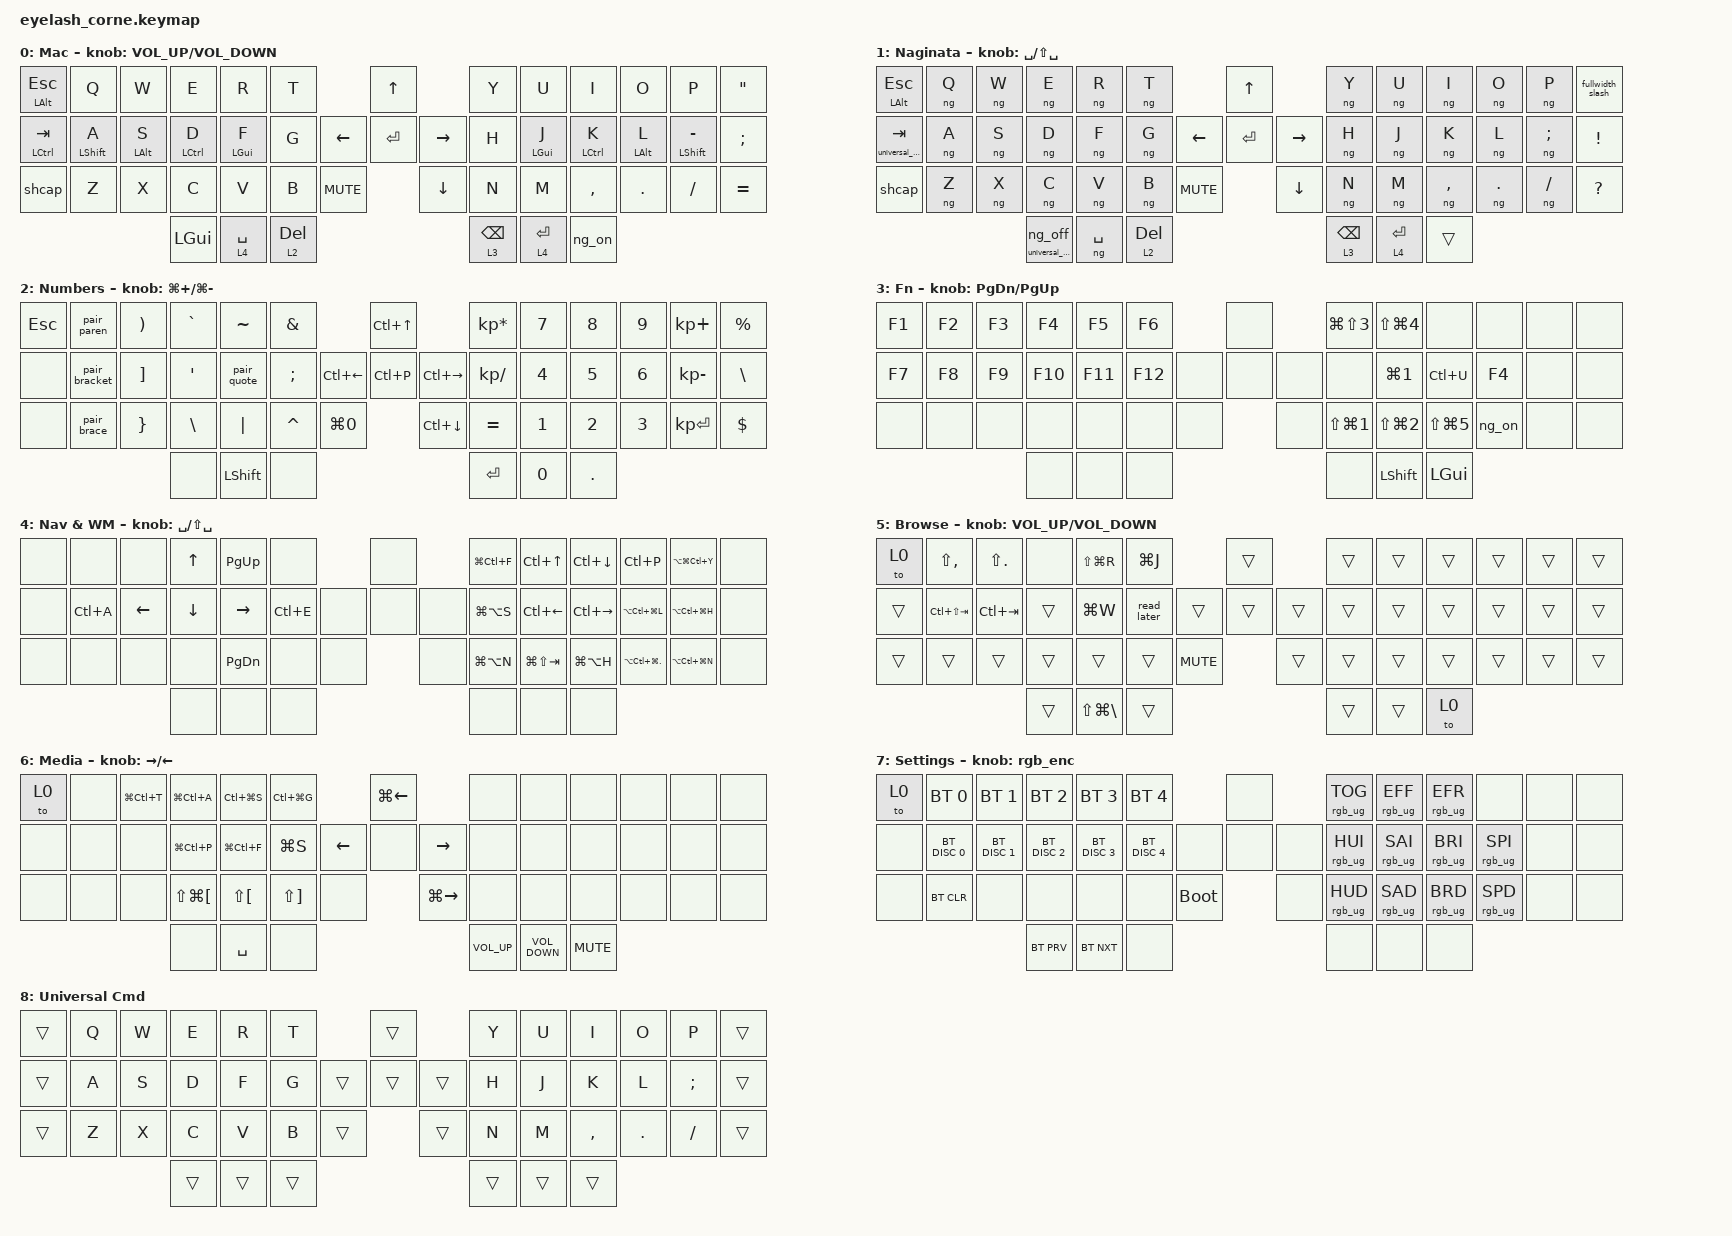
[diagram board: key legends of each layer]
#include <dt-bindings/zmk/mouse.h>
#include <input/processors.dtsi>
#include <behaviors/naginata.dtsi>
#include <behaviors.dtsi>
#include <dt-bindings/zmk/bt.h>
#include <dt-bindings/zmk/keys.h>
#include <dt-bindings/zmk/pointing.h>
#include <dt-bindings/zmk/rgb.h>

// ============================================================================
// Pointing Device
// ============================================================================
// XY入力のスケーリング用。
// 現在は無効。トラックボール等で必要になった場合に使用する。
/*
&mmv_input_listener {
    input-processors = <&zip_xy_scaler 2 1>;
};

&msc_input_listener {
    input-processors = <&zip_xy_scaler 2 1>;
};
*/

#define ZMK_MOUSE_DEFAULT_MOVE_VAL 1200  // Default: 600
#define ZMK_MOUSE_DEFAULT_SCRL_VAL 20    // Default: 10

/ {
    // =========================================================================
    // Macros
    // =========================================================================

    macros {
        // ---------------------------------------------------------------------
        // macOS Input Source
        // ---------------------------------------------------------------------
        // 英数入力へ確実に切り替えるため、LANG2を2回送信する。
        // BTT等によるLANG2検出の取りこぼし対策も兼ねる。
        //
        //   LANG2 -> 30ms -> LANG2
        // ---------------------------------------------------------------------
        // 薙刀式 ON / OFF
        // ---------------------------------------------------------------------
        // macOSを日本語入力へ切り替え、薙刀式レイヤーへ移動

        ng_on: ng_on {
            compatible = "zmk,behavior-macro";
            #binding-cells = <0>;
            bindings = <&macro_tap>, <&to 1 &kp LANGUAGE_1>;
        };

        // macOSを英数入力へ切り替え、Macレイヤーへ戻る。
        // 英数切替には共通のen_modeを使用する。

        ng_off: ng_off {
            compatible = "zmk,behavior-macro";
            #binding-cells = <0>;
            bindings = <&macro_tap>, <&to 0 &kp LANGUAGE_2>, <&macro_press>;
        };

        // ---------------------------------------------------------------------
        // Universal Cmd / Ctrl
        // ---------------------------------------------------------------------
        // 押している間、Universal Cmdレイヤー + Commandを有効化。
        // 薙刀式使用中でも通常のQWERTY配置でCmdショートカットを使用できる。

        universal_cmd: universal_cmd {
            compatible = "zmk,behavior-macro";
            #binding-cells = <0>;
            wait-ms = <0>;
            tap-ms = <0>;
            bindings =
                <&macro_press>,
                <&mo 8 &kp LGUI>,
                <&macro_pause_for_release>,
                <&macro_release>,
                <&kp LGUI &mo 8>;
        };

        // 押している間、Universal Cmdレイヤー + Controlを有効化。

        universal_ctrl: universal_ctrl {
            compatible = "zmk,behavior-macro";
            #binding-cells = <0>;
            wait-ms = <0>;
            tap-ms = <0>;
            bindings =
                <&macro_press>,
                <&mo 8 &kp LCTRL>,
                <&macro_pause_for_release>,
                <&macro_release>,
                <&kp LCTRL &mo 8>;
        };

        // ---------------------------------------------------------------------
        // Pair Symbols
        // ---------------------------------------------------------------------
        //
        // 開き記号と閉じ記号をまとめて入力し、
        // カーソルを記号の内側へ戻す。
        //
        // 半角ペア：
        //
        //   pair_paren    -> (|)
        //   pair_bracket  -> [|]
        //   pair_brace    -> {|}
        //   pair_quote    -> "|"
        //
        // 日本語ペア：
        //
        //   pair_kagi      -> 「|」
        //   pair_nijukagi  -> 『|』
        //
        // 日本語ペアはIMEで生成された文字をEnterで確定してから
        // カーソルを1文字左へ戻す。

        pair_paren: pair_paren {
            compatible = "zmk,behavior-macro";
            #binding-cells = <0>;
            bindings = <&kp LPAR &kp RPAR &kp LEFT>;
        };

        pair_bracket: pair_bracket {
            compatible = "zmk,behavior-macro";
            #binding-cells = <0>;
            bindings = <&kp LBKT &kp RIGHT_BRACKET &kp LEFT>;
        };

        pair_brace: pair_brace {
            compatible = "zmk,behavior-macro";
            #binding-cells = <0>;
            bindings = <&kp LBRC &kp RIGHT_BRACE &kp LEFT>;
        };

        pair_quote: pair_quote {
            compatible = "zmk,behavior-macro";
            #binding-cells = <0>;
            bindings = <&kp DOUBLE_QUOTES &kp DOUBLE_QUOTES &kp LEFT>;
        };

        // 「|」

        pair_kagi: pair_kagi {
            compatible = "zmk,behavior-macro";
            #binding-cells = <0>;
            wait-ms = <20>;
            bindings = <&kp LBKT &kp RIGHT_BRACKET &kp ENTER &kp LEFT>;
        };

        // 『|』

        pair_nijukagi: pair_nijukagi {
            compatible = "zmk,behavior-macro";
            #binding-cells = <0>;
            wait-ms = <20>;
            bindings = <&kp LBRC &kp RIGHT_BRACE &kp ENTER &kp LEFT>;
        };

        // ---------------------------------------------------------------------
        // Full-width Symbols
        // ---------------------------------------------------------------------
        // 全角スラッシュ「／」
        //
        // 日本語入力中に「・」を入力し、
        // Ctrl+L（全角英字変換）で「／」へ変換して確定する。

        fullwidth_slash: fullwidth_slash {
            compatible = "zmk,behavior-macro";
            #binding-cells = <0>;
            wait-ms = <20>;
            bindings = <&kp SLASH &kp LC(L) &kp ENTER>;
        };

        // ---------------------------------------------------------------------
        // Browse
        // ---------------------------------------------------------------------
        // SafariのReading Listへ現在のページを追加し、
        // 追加処理を待ってから現在のタブを閉じる。

        read_later: read_later {
            compatible = "zmk,behavior-macro";
            #binding-cells = <0>;
            wait-ms = <100>;
            bindings = <&kp LS(LG(D)) &kp LG(W)>;
        };

        // Alfred起動後、英数入力へ確実に切り替える。

        alfred: alfred {
            compatible = "zmk,behavior-macro";
            #binding-cells = <0>;
            bindings = <&to 0 &kp LANGUAGE_2 &kp LG(LS(SPACE))>;
            label = "ALFRED";
        };

        // ハイフン3個を入力する前に英数入力へ確実に切り替える。
    };

    // =========================================================================
    // Behaviors
    // =========================================================================

    behaviors {
        // ---------------------------------------------------------------------
        // Shift / Caps Lock
        // ---------------------------------------------------------------------
        // 1回タップ：Left Shift
        // 2回タップ：Caps Lock

        shcap: shcap {
            compatible = "zmk,behavior-tap-dance";
            display-name = "Shift / Caps Lock";
            #binding-cells = <0>;
            bindings = <&kp LEFT_SHIFT>, <&kp CAPS>;

            label = "Shift / Caps";
        };

        // ---------------------------------------------------------------------
        // Mod-Tap
        // ---------------------------------------------------------------------
        // Tap ：通常キー
        // Hold：Modifier

        modtap: modtap {
            compatible = "zmk,behavior-hold-tap";
            label = "Mod-Tap";
            #binding-cells = <2>;
            tapping-term-ms = <200>;
            quick-tap-ms = <0>;
            flavor = "balanced";
            bindings = <&kp>, <&kp>;
        };

        // ---------------------------------------------------------------------
        // Layer-Tap
        // ---------------------------------------------------------------------

        layertap: layertap {
            compatible = "zmk,behavior-hold-tap";
            label = "Layer-Tap";
            #binding-cells = <2>;
            tapping-term-ms = <200>;
            quick-tap-ms = <0>;
            flavor = "tap-preferred";
            bindings = <&mo>, <&kp>;
        };

        // ---------------------------------------------------------------------
        // 薙刀式用 Hold-Tap
        // ---------------------------------------------------------------------

        ng_cmd: ng_cmd {
            compatible = "zmk,behavior-hold-tap";
            #binding-cells = <2>;
            tapping-term-ms = <200>;
            quick-tap-ms = <0>;
            flavor = "hold-preferred";
            bindings = <&universal_cmd>, <&ng_off>;
        };

        ng_ctrl: ng_ctrl {
            compatible = "zmk,behavior-hold-tap";
            #binding-cells = <2>;
            tapping-term-ms = <200>;
            quick-tap-ms = <0>;
            flavor = "hold-preferred";
            bindings = <&universal_ctrl>, <&kp>;
        };

        // ---------------------------------------------------------------------
        // Encoder
        // ---------------------------------------------------------------------

        rgb_enc: rgb_enc {
            compatible = "zmk,behavior-sensor-rotate";
            #sensor-binding-cells = <0>;
            bindings = <&rgb_ug RGB_BRI>, <&rgb_ug RGB_BRD>;
        };

        scrl_enc: scrl_enc {
            compatible = "zmk,behavior-sensor-rotate";
            #sensor-binding-cells = <0>;
            bindings = <&msc SCRL_DOWN>, <&msc SCRL_UP>;

            tap-ms = <30>;
        };
    };

    // =========================================================================
    // Combos
    // =========================================================================
    //
    // Physical key positions
    //
    //   上段    0  1  2  3  4  5             6  7  8  9 10 11 12
    //   中段   13 14 15 16 17 18         19 20 21 22 23 24 25 26 27
    //   下段   28 29 30 31 32 33 34         35 36 37 38 39 40 41
    //   親指               42 43 44         45 46 47
    //

    combos {
        compatible = "zmk,combos";

        // Browseレイヤー

        browse {
            bindings = <&to 5>;
            key-positions = <29 14>;
            layers = <0>;
        };

        // Mediaレイヤー

        media {
            bindings = <&to 6>;
            key-positions = <30 15>;
            layers = <0>;
        };

        // Settingsレイヤー

        settings {
            bindings = <&to 7>;
            key-positions = <40 26 11>;
            layers = <0>;
            timeout-ms = <300>;
        };

        // 絵文字と記号（Ctrl + Cmd + Space）

        emo {
            bindings = <&kp LG(LC(SPACE))>;
            key-positions = <26 40>;
            layers = <0 1>;
            timeout-ms = <300>;
        };

        // Alfred（Shift + Cmd + Space）

        alfred {
            bindings = <&alfred>;
            key-positions = <46 47>;
        };

        // macOS「辞書で調べる」（Ctrl + Cmd + D）

        dictionary {
            bindings = <&kp LC(LG(D))>;
            key-positions = <8 9>;
            layers = <0 1 5>;
        };

        // ---------------------------------------------------------------------
        // Plain Paste
        // ---------------------------------------------------------------------
        //
        // 通常：
        //   Cmd -> V = Cmd+V
        //
        // 同時押し：
        //   Cmd + V = Cmd+Shift+Option+V
        //
        // 同じ物理キーを使い、
        // 押下タイミングだけで通常PasteとPlain Pasteを使い分ける。

        plain_paste {
            bindings = <&kp LG(LA(LS(V)))>;
            key-positions = <42 32>;
            layers = <0 1>;
            timeout-ms = <30>;
        };
    };

    // =========================================================================
    // Keymap
    // =========================================================================
    //
    // Physical key positions
    //
    //   上段    0  1  2  3  4  5             6  7  8  9 10 11 12
    //   中段   13 14 15 16 17 18         19 20 21 22 23 24 25 26 27
    //   下段   28 29 30 31 32 33 34         35 36 37 38 39 40 41
    //   親指               42 43 44         45 46 47
    //

    keymap {
        compatible = "zmk,keymap";

        // =====================================================================
        // Layer 0 : Mac
        // =====================================================================

        mac {
            display-name = "Mac";
            bindings = <
&modtap LALT ESCAPE       &kp Q                 &kp W               &kp E                   &kp R              &kp T                                    &kp UP                &kp Y                  &kp U              &kp I            &kp O               &kp P                 &kp DOUBLE_QUOTES
&modtap LEFT_CONTROL TAB  &modtap LEFT_SHIFT A  &modtap LEFT_ALT S  &modtap LEFT_CONTROL D  &modtap LGUI F     &kp G                          &kp LEFT  &kp ENTER  &kp RIGHT  &kp H                  &modtap LGUI J     &modtap LCTRL K  &modtap LEFT_ALT L  &modtap LSHIFT MINUS  &kp SEMI
&shcap                    &kp Z                 &kp X               &kp C                   &kp V              &kp B            &kp K_MUTE              &kp DOWN              &kp N                  &kp M              &kp COMMA        &kp DOT             &kp FSLH              &kp EQUAL
                                                                    &kp LGUI                &layertap 4 SPACE  &layertap 2 DEL                                                &layertap 3 BACKSPACE  &layertap 4 ENTER  &ng_on
            >;

            sensor-bindings = <&inc_dec_kp C_VOLUME_UP C_VOLUME_DOWN>;
            label = "Mac";
        };

        // =====================================================================
        // Layer 1 : Naginata
        // =====================================================================

        naginata {
            display-name = "Naginata";
            bindings = <
&modtap LALT ESCAPE  &ng Q  &ng W  &ng E        &ng R      &ng T                                    &kp UP                &ng Y                  &ng U              &ng I      &ng O    &ng P     &fullwidth_slash
&ng_ctrl 0 TAB       &ng A  &ng S  &ng D        &ng F      &ng G                          &kp LEFT  &kp ENTER  &kp RIGHT  &ng H                  &ng J              &ng K      &ng L    &ng SEMI  &kp EXCL
&shcap               &ng Z  &ng X  &ng C        &ng V      &ng B            &kp K_MUTE              &kp DOWN              &ng N                  &ng M              &ng COMMA  &ng DOT  &ng FSLH  &kp QUESTION
                                   &ng_cmd 0 0  &ng SPACE  &layertap 2 DEL                                                &layertap 3 BACKSPACE  &layertap 4 ENTER  &trans
            >;

            sensor-bindings = <&inc_dec_kp SPACE LS(SPACE)>;
            label = "Naginata";
        };

        // =====================================================================
        // Layer 2 : Numbers
        // =====================================================================

        numbers {
            bindings = <
&kp ESCAPE  &pair_paren    &kp RPAR           &kp GRAVE         &kp TILDE    &kp AMPERSAND                              &kp LC(UP_ARROW)                   &kp KP_MULTIPLY  &kp N7  &kp N8   &kp N9  &kp KP_PLUS   &kp PERCENT
&none       &pair_bracket  &kp RIGHT_BRACKET  &kp SINGLE_QUOTE  &pair_quote  &kp SEMI                     &kp LC(LEFT)  &kp LC(P)           &kp LC(RIGHT)  &kp KP_DIVIDE    &kp N4  &kp N5   &kp N6  &kp KP_MINUS  &kp BACKSLASH
&none       &pair_brace    &kp RIGHT_BRACE    &kp BACKSLASH     &kp PIPE     &kp CARET      &kp LG(N0)                  &kp LC(DOWN_ARROW)                 &kp EQUAL        &kp N1  &kp N2   &kp N3  &kp KP_ENTER  &kp DOLLAR
                                              &none             &kp LSHFT    &none                                                                         &kp ENTER        &kp N0  &kp DOT
            >;

            label = "Numbers";
            sensor-bindings = <&inc_dec_kp LG(PLUS) LG(MINUS)>;
        };

        // =====================================================================
        // Layer 3 : Fn
        // =====================================================================

        fn {
            display-name = "Fn";
            bindings = <
&kp F1  &kp F2  &kp F3  &kp F4   &kp F5   &kp F6                   &none         &kp LG(LS(NUMBER_3))  &kp LS(LG(NUMBER_4))  &none           &none   &none  &none
&kp F7  &kp F8  &kp F9  &kp F10  &kp F11  &kp F12           &none  &none  &none  &none                 &kp LG(N1)            &kp LC(U)       &kp F4  &none  &none
&none   &none   &none   &none    &none    &none    &none           &none         &kp LS(LG(NUMBER_1))  &kp LS(LG(NUMBER_2))  &kp LS(LG(N5))  &ng_on  &none  &none
                        &none    &none    &none                                  &none                 &kp LEFT_SHIFT        &kp LGUI
            >;

            sensor-bindings = <&inc_dec_kp PAGE_DOWN PG_UP>;
            label = "Fn";
        };

        // =====================================================================
        // Layer 4 : Nav & WM
        // =====================================================================

        nav {
            bindings = <
&none  &none      &none           &kp UP_ARROW    &kp PAGE_UP    &none                      &none         &kp LG(LC(F))  &kp LC(UP_ARROW)  &kp LC(DOWN_ARROW)  &kp LC(P)               &kp LA(LG(LC(Y)))  &none
&none  &kp LC(A)  &kp LEFT_ARROW  &kp DOWN_ARROW  &kp RIGHT      &kp LC(E)           &none  &none  &none  &kp LG(LA(S))  &kp LC(LEFT)      &kp LC(RIGHT)       &kp LA(LC(LG(L)))       &kp LA(LC(LG(H)))  &none
&none  &none      &none           &none           &kp PAGE_DOWN  &none      &none           &none         &kp LG(LA(N))  &kp LG(LS(TAB))   &kp LG(LA(H))       &kp LA(LC(LG(PERIOD)))  &kp LA(LC(LG(N)))  &none
                                  &none           &none          &none                                    &none          &none             &none
            >;

            sensor-bindings = <&inc_dec_kp SPACE LS(SPACE)>;
            label = "Nav & WM";
        };

        // =====================================================================
        // Layer 5 : Browse
        // =====================================================================

        browse {
            display-name = "Browse";
            bindings = <
&to 0   &kp LS(COMMA)    &kp LS(PERIOD)  &none   &kp LS(LG(R))          &kp LG(J)                          &trans          &trans  &trans  &trans  &trans  &trans  &trans
&trans  &kp LC(LS(TAB))  &kp LC(TAB)     &trans  &kp LG(W)              &read_later                &trans  &trans  &trans  &trans  &trans  &trans  &trans  &trans  &trans
&trans  &trans           &trans          &trans  &trans                 &trans       &kp K_MUTE            &trans          &trans  &trans  &trans  &trans  &trans  &trans
                                         &trans  &kp LS(LG(BACKSLASH))  &trans                                             &trans  &trans  &to 0
            >;

            label = "Browse";
            sensor-bindings = <&inc_dec_kp C_VOLUME_UP C_VOLUME_DOWN>;
        };

        // =====================================================================
        // Layer 6 : Media
        // =====================================================================

        media {
            bindings = <
&to 0  &none  &kp LG(LC(T))  &kp LG(LC(A))             &kp LC(LG(S))         &kp LC(LG(G))                             &kp LG(LEFT)              &none            &none              &none       &none  &none  &none
&none  &none  &none          &kp LG(LC(P))             &kp LG(LC(F))         &kp LG(S)                       &kp LEFT  &none          &kp RIGHT  &none            &none              &none       &none  &none  &none
&none  &none  &none          &kp LS(LG(LEFT_BRACKET))  &kp LS(LEFT_BRACKET)  &kp LS(RIGHT_BRACKET)  &none              &kp LG(RIGHT)             &none            &none              &none       &none  &none  &none
                             &none                     &kp SPACE             &none                                                               &kp C_VOLUME_UP  &kp C_VOLUME_DOWN  &kp K_MUTE
            >;

            label = "Media";
            sensor-bindings = <&inc_dec_kp RIGHT LEFT>;
        };

        // =====================================================================
        // Layer 7 : Settings
        // =====================================================================

        settings {
            bindings = <
&to 0  &bt BT_SEL 0   &bt BT_SEL 1   &bt BT_SEL 2   &bt BT_SEL 3   &bt BT_SEL 4                         &none         &rgb_ug RGB_TOG  &rgb_ug RGB_EFF  &rgb_ug RGB_EFR  &none            &none  &none
&none  &bt BT_DISC 0  &bt BT_DISC 1  &bt BT_DISC 2  &bt BT_DISC 3  &bt BT_DISC 4                 &none  &none  &none  &rgb_ug RGB_HUI  &rgb_ug RGB_SAI  &rgb_ug RGB_BRI  &rgb_ug RGB_SPI  &none  &none
&none  &bt BT_CLR     &none          &none          &none          &none          &bootloader           &none         &rgb_ug RGB_HUD  &rgb_ug RGB_SAD  &rgb_ug RGB_BRD  &rgb_ug RGB_SPD  &none  &none
                                     &bt BT_PRV     &bt BT_NXT     &none                                              &none            &none            &none
            >;

            sensor-bindings = <&rgb_enc>;
            label = "Settings";
        };

        // =====================================================================
        // Layer 8 : Universal Cmd
        // =====================================================================

        universal_cmd_layer {
            display-name = "Universal Cmd";
            bindings = <
&trans  &kp Q  &kp W  &kp E   &kp R   &kp T                     &trans          &kp Y   &kp U   &kp I      &kp O    &kp P     &trans
&trans  &kp A  &kp S  &kp D   &kp F   &kp G             &trans  &trans  &trans  &kp H   &kp J   &kp K      &kp L    &kp SEMI  &trans
&trans  &kp Z  &kp X  &kp C   &kp V   &kp B   &trans            &trans          &kp N   &kp M   &kp COMMA  &kp DOT  &kp FSLH  &trans
                      &trans  &trans  &trans                                    &trans  &trans  &trans
            >;

            label = "Universal Cmd";
        };
    };

    // =========================================================================
    // Conditional Layers
    // =========================================================================

    conditional_layers { compatible = "zmk,conditional-layers"; };
};
